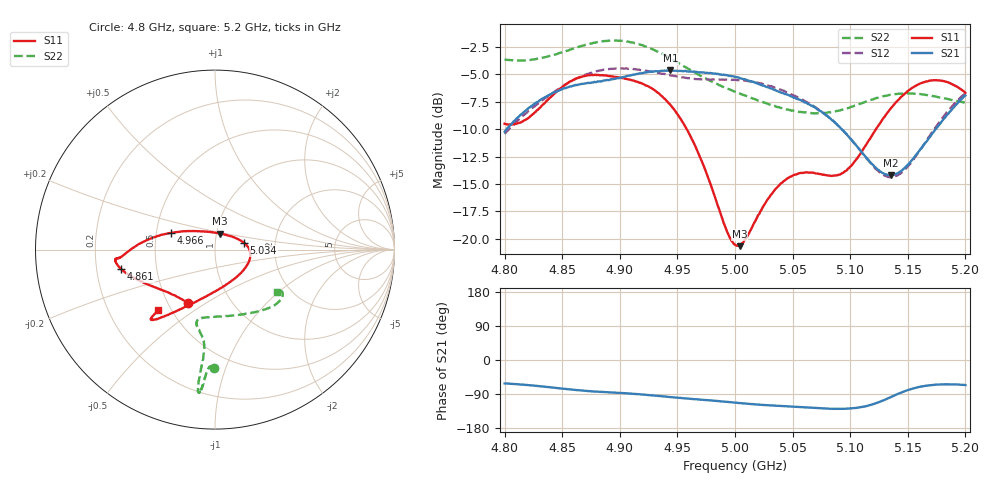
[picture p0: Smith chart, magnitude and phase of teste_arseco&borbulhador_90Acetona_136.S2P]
! Network Analyzer HP8722D
! Hewlett-Packard
! Data name: Linha & Wilkinson
! Saver's name: Rodrigo Anjos
! Comments: Teste da utilização de aquisição
! continua pelo VNA HP8722D
! Time and date: 17/4/2025 12:11
!  Frequency  S11  S21  S12  S22
# HZ  S  MA R 50
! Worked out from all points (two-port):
!   401 points, 4.8 GHz to 5.2 GHz, reference 50 ohm
!   highest |S21| = -4.64 dB at 4.944 GHz (marker M1); lowest = -14.2 dB at 5.135 GHz (marker M2)
!   |S21| within 3 dB of the highest: 4.827 GHz to 5.062 GHz (235.9 MHz wide, 4.77 % of centre); 5.193089 GHz to end of sweep
!   lowest |S11| = -20.7 dB at 5.004 GHz (marker M3), VSWR 1.20, Z = 51.7 + j9.31 ohm
!   |S11| at or under -10 dB: 4.958 GHz to 5.122 GHz (164.3 MHz wide, 3.26 % of centre)
!   |S22| runs from -8.6 to -1.9 dB; largest |S21 - S12| = 0.88
!   S11 on the Smith chart (normalised r, x): 4.8 GHz: 0.63, -0.43; 4.861 GHz: 0.31, -0.09; 4.966 GHz: 0.60, +0.12; 5.034 GHz: 1.38, +0.11; 5.2 GHz: 0.43, -0.37
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4.8e9  0.335 -116.4  0.3078 -62.0  0.3009 -176.2  0.6572 -90.7
4.819e9  0.3513 -136.5  0.387 -65.8  0.3748 -175.5  0.6533 -92.5
4.861e9  0.535 -168.4  0.5012 -78.9  0.5334 -178.9  0.741 -95.0
4.867e9  0.5484 -170.7  0.5089 -80.5  0.5502 -179.9  0.7579 -95.1
4.902e9  0.5407 -175.0  0.545 -87.1  0.5982 173.3  0.7986 -96.7
4.934e9  0.4602 179.1  0.5812 -95.0  0.5709 170.5  0.7084 -97.0
4.944e9  0.408 174.3  0.5863 -97.9  0.5553 170.7  0.6651 -96.6
4.966e9  0.2613 159.1  0.5769 -103.4  0.5348 172.6  0.5698 -96.0
4.992e9  0.1117 116.3  0.5578 -110.2  0.5324 174.8  0.4869 -98.5
5e9  0.09423 89.1  0.5473 -112.6  0.5314 174.8  0.4686 -100.1
5.004e9  0.09269 74.2  0.5407 -113.4  0.529 174.7  0.4603 -100.9
5.034e9  0.1656 13.4  0.4781 -120.6  0.491 173.5  0.4041 -103.9
5.049e9  0.1928 -1.2  0.4454 -122.9  0.4549 173.0  0.3839 -99.6
5.067e9  0.2005 -20.3  0.4044 -126.2  0.407 172.5  0.3735 -89.5
5.096e9  0.204 -71.1  0.3034 -128.6  0.3032 174.4  0.3926 -66.9
5.121e9  0.3078 -110.0  0.2137 -115.6  0.2115 -170.4  0.4354 -49.8
5.134e9  0.3854 -120.4  0.1954 -99.7  0.1911 -152.6  0.453 -43.4
5.135e9  0.3918 -120.9  0.1952 -98.4  0.1914 -150.9  0.454 -42.9
5.148e9  0.4628 -127.0  0.2124 -81.6  0.2079 -131.9  0.4605 -38.0
5.168e9  0.5243 -131.6  0.2866 -67.3  0.2899 -113.4  0.45 -33.2
5.184e9  0.5186 -132.9  0.3675 -64.1  0.3783 -108.4  0.4347 -32.1
5.2e9  0.4629 -133.1  0.4506 -66.1  0.4604 -108.2  0.4169 -34.6
